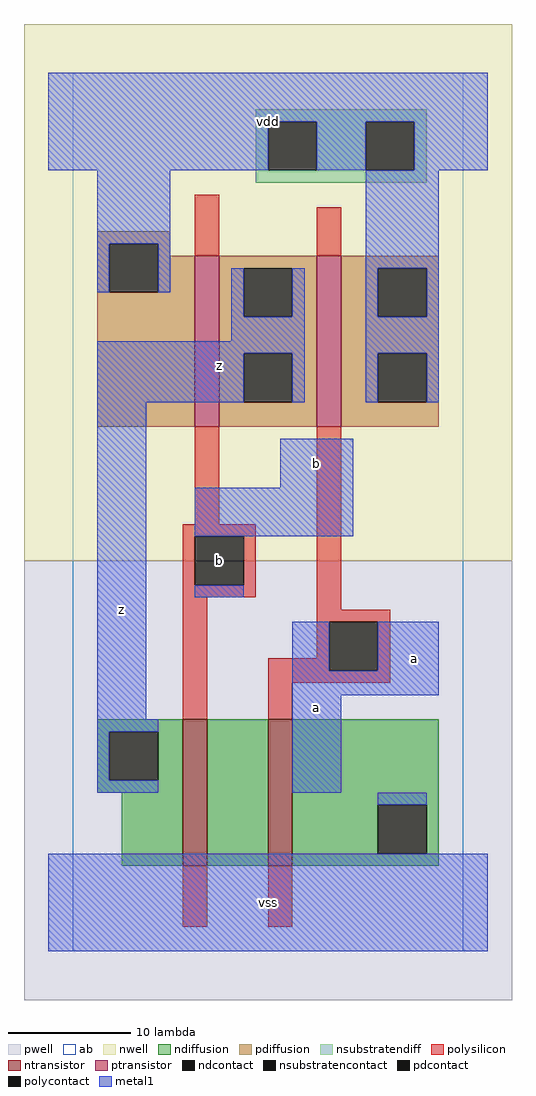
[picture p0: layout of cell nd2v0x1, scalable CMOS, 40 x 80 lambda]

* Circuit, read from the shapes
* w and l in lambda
.subckt nd2v0x1 a b vdd vss z
M1 n1 b z VSUBS nfet w=12 l=2
M2 vss a n1 VSUBS nfet w=12 l=2
M3 z b vdd vdd pfet w=14 l=2
M4 vdd a z vdd pfet w=14 l=2
.ends

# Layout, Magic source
magic
tech scmos
<< ab >>
rect 0 0 32 72
<< pwell >>
rect -4 -4 36 32
<< nwell >>
rect -4 32 36 76
<< polysilicon >>
rect 10 57 12 62
rect 20 57 22 61
rect 10 35 12 43
rect 9 34 15 35
rect 9 30 10 34
rect 14 30 15 34
rect 9 29 15 30
rect 9 19 11 29
rect 20 28 22 43
rect 20 27 26 28
rect 20 24 21 27
rect 16 23 21 24
rect 25 23 26 27
rect 16 22 26 23
rect 16 19 18 22
rect 9 2 11 7
rect 16 2 18 7
<< ndiffusion >>
rect 2 18 9 19
rect 2 14 3 18
rect 7 14 9 18
rect 2 13 9 14
rect 4 7 9 13
rect 11 7 16 19
rect 18 12 30 19
rect 18 8 25 12
rect 29 8 30 12
rect 18 7 30 8
<< pdiffusion >>
rect 2 58 8 59
rect 2 54 3 58
rect 7 57 8 58
rect 7 54 10 57
rect 2 43 10 54
rect 12 56 20 57
rect 12 52 14 56
rect 18 52 20 56
rect 12 49 20 52
rect 12 45 14 49
rect 18 45 20 49
rect 12 43 20 45
rect 22 56 30 57
rect 22 52 25 56
rect 29 52 30 56
rect 22 49 30 52
rect 22 45 25 49
rect 29 45 30 49
rect 22 43 30 45
<< metal1 >>
rect -2 68 34 72
rect -2 64 16 68
rect 20 64 24 68
rect 28 64 34 68
rect 2 58 8 64
rect 2 54 3 58
rect 7 54 8 58
rect 24 56 30 64
rect 13 52 14 56
rect 18 52 19 56
rect 13 50 19 52
rect 2 49 19 50
rect 2 45 14 49
rect 18 45 19 49
rect 24 52 25 56
rect 29 52 30 56
rect 24 49 30 52
rect 24 45 25 49
rect 29 45 30 49
rect 2 19 6 45
rect 17 38 23 42
rect 10 34 23 38
rect 10 29 14 30
rect 18 23 21 27
rect 25 23 30 27
rect 18 21 30 23
rect 2 18 7 19
rect 2 14 3 18
rect 2 13 7 14
rect 18 13 22 21
rect 25 12 29 13
rect -2 0 34 8
<< ntransistor >>
rect 9 7 11 19
rect 16 7 18 19
<< ptransistor >>
rect 10 43 12 57
rect 20 43 22 57
<< polycontact >>
rect 10 30 14 34
rect 21 23 25 27
<< ndcontact >>
rect 3 14 7 18
rect 25 8 29 12
<< pdcontact >>
rect 3 54 7 58
rect 14 52 18 56
rect 14 45 18 49
rect 25 52 29 56
rect 25 45 29 49
<< nsubstratencontact >>
rect 16 64 20 68
rect 24 64 28 68
<< nsubstratendiff >>
rect 15 68 29 69
rect 15 64 16 68
rect 20 64 24 68
rect 28 64 29 68
rect 15 63 29 64
<< labels >>
rlabel metal1 4 28 4 28 6 z
rlabel polycontact 12 32 12 32 6 b
rlabel metal1 12 48 12 48 6 z
rlabel metal1 16 4 16 4 6 vss
rlabel metal1 20 20 20 20 6 a
rlabel metal1 20 40 20 40 6 b
rlabel metal1 16 68 16 68 6 vdd
rlabel metal1 28 24 28 24 6 a
<< end >>
